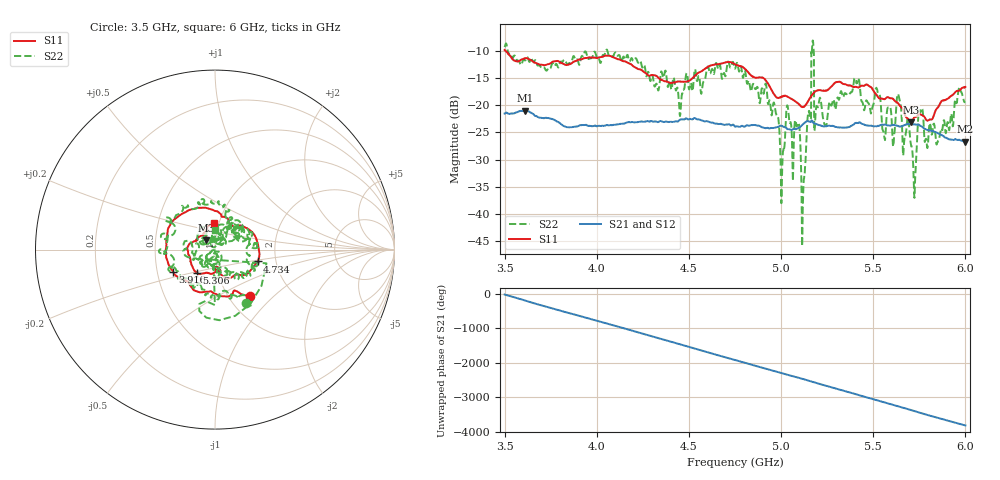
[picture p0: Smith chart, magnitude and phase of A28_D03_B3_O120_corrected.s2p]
! Created with skrf 1.9.0 (http://scikit-rf.org).
# Hz S RI R 50.0
!freq ReS11 ImS11 ReS21 ImS21 ReS12 ImS12 ReS22 ImS22
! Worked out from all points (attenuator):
!   1601 points, 3.5 GHz to 6 GHz, reference 50 ohm
!   highest |S21| = -21.02 dB at 3.611 GHz (marker M1); lowest = -26.7 dB at 5.998 GHz (marker M2)
!   lowest |S11| = -23.1 dB at 5.705 GHz (marker M3), VSWR 1.15, Z = 45.2 + j4.66 ohm
!   |S11| at or under -10 dB: 3.506 GHz to end of sweep
!   |S22| runs from -45.9 to -8.1 dB; largest |S21 - S12| = 0.001
!   S11 on the Smith chart (normalised r, x): 3.5 GHz: 1.25, -0.72; 3.916 GHz: 0.61, -0.16; 4.734 GHz: 1.60, -0.22; 5.306 GHz: 0.79, -0.21; 6 GHz: 0.95, +0.28
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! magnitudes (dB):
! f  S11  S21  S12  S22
! 3.5 GHz  -9.8  -21.5  -21.5  -9.3
! 3.611 GHz  -11.3  -21.0  -21.0  -11.8
! 3.916 GHz  -11.6  -23.7  -23.7  -11.2
! 3.917 GHz  -11.6  -23.7  -23.7  -11.0
! 4.334 GHz  -15.0  -23.1  -23.0  -17.3
! 4.734 GHz  -12.2  -23.7  -23.7  -12.4
! 4.75 GHz  -12.5  -23.9  -23.9  -13.3
! 4.969 GHz  -18.3  -24.1  -24.1  -21.0
! 5.006 GHz  -18.4  -23.8  -23.8  -31.3
! 5.034 GHz  -18.4  -24.4  -24.3  -20.0
! 5.088 GHz  -19.5  -24.3  -24.3  -23.7
! 5.12 GHz  -20.3  -23.5  -23.4  -35.9
! 5.167 GHz  -18.1  -22.8  -22.8  -10.0
! 5.237 GHz  -17.4  -23.9  -23.9  -23.7
! 5.306 GHz  -15.7  -24.1  -24.0  -18.6
! 5.584 GHz  -18.6  -23.7  -23.7  -20.4
! 5.705 GHz  -23.1  -23.5  -23.5  -27.3
! 5.723 GHz  -22.2  -23.5  -23.5  -37.1
! 5.756 GHz  -21.7  -23.8  -23.7  -21.3
! 5.85 GHz  -20.4  -25.2  -25.1  -26.7
! 5.998 GHz  -16.7  -26.7  -26.6  -19.5
! 6 GHz  -16.6  -26.7  -26.6  -19.4
